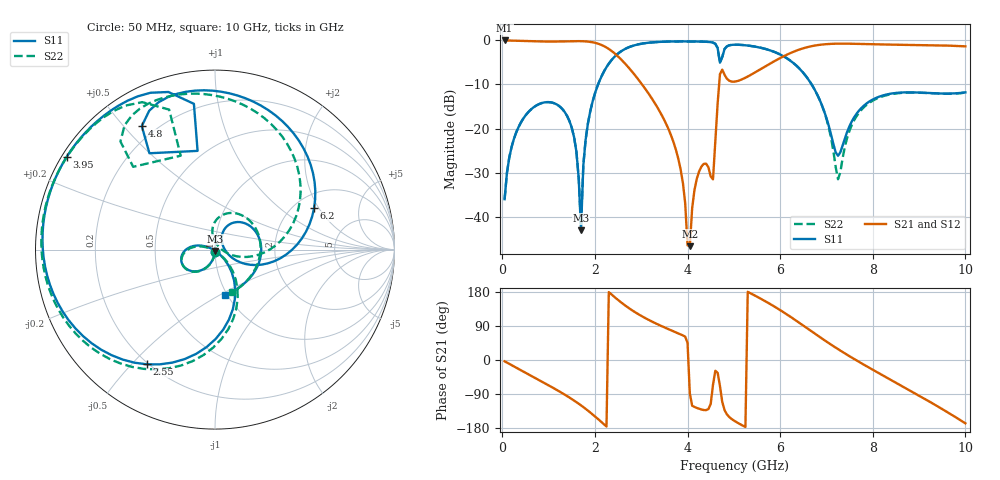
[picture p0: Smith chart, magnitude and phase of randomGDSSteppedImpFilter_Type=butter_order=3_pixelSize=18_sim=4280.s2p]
! freq	dB(S11)	phase(S11)	dB(S12)	phase(S12)
!  dB(S21)	phase(S21)	dB(S22)	phase(S22)
!S-par simulation data
#  GHz  S  DB  R 50
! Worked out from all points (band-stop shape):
!   200 points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, 50 MHz to 10 GHz, reference 50 ohm
!   highest |S21| = -0.01 dB at 50 MHz (marker M1); lowest = -46.7 dB at 4.05 GHz (marker M2)
!   |S21| within 3 dB of the highest: start of sweep to 2.433 GHz; 6.193 GHz to end of sweep
!   lowest |S11| = -43.1 dB at 1.7 GHz (marker M3), VSWR 1.01, Z = 50 - j0.703 ohm
!   |S11| at or under -10 dB: start of sweep to 2.069 GHz; 6.679 GHz to end of sweep
!   |S22| runs from -41.9 to -0.2 dB; largest |S21 - S12| = 0
!   S11 on the Smith chart (normalised r, x): 50 MHz: 1.00, -0.03; 2.55 GHz: 0.19, -0.55; 3.95 GHz: 0.01, +0.29; 4.8 GHz: 0.15, +0.56; 6.2 GHz: 2.52, +1.82; 10 GHz: 0.98, -0.53
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0.05  -36.03 -93.0  -0.01 -3.4  -0.01 -3.4  -36.03 -92.9
0.4  -18.65 -117.6  -0.10 -26.9  -0.10 -26.9  -18.65 -116.9
1.15  -14.39 -168.2  -0.26 -77.1  -0.26 -77.1  -14.39 -166.1
1.55  -21.95 163.8  -0.17 -107.0  -0.17 -107.0  -21.96 167.2
1.7  -43.06 -87.0  -0.17 -119.7  -0.17 -119.7  -41.89 -87.6
1.75  -28.32 -45.2  -0.19 -124.2  -0.19 -124.2  -28.23 -43.9
2  -12.06 -63.2  -0.53 -148.7  -0.53 -148.7  -12.05 -60.0
2.55  -2.58 -120.6  -4.14 153.5  -4.14 153.5  -2.58 -116.1
3.4  -0.33 176.9  -16.13 91.6  -16.13 91.6  -0.33 -176.6
3.95  -0.22 148.0  -37.03 61.5  -37.03 61.5  -0.22 155.9
4.05  -0.23 142.9  -46.70 -88.6  -46.70 -88.6  -0.22 151.1
4.25  -0.26 132.4  -29.74 -128.7  -29.74 -128.7  -0.25 141.2
4.55  -0.49 112.3  -31.53 -65.5  -31.53 -65.5  -0.49 122.0
4.7  -5.06 100.0  -7.68 -68.2  -7.68 -68.2  -5.08 110.1
4.8  -1.94 120.6  -7.82 -132.6  -7.82 -132.6  -1.93 131.2
5.05  -0.97 100.3  -9.29 -163.5  -9.29 -163.5  -0.97 111.6
6.2  -4.45 22.8  -2.97 115.9  -2.97 115.9  -4.43 37.6
6.7  -10.35 -14.7  -1.26 73.7  -1.26 73.7  -10.33 -0.0
7.25  -26.18 22.5  -0.73 28.7  -0.73 28.7  -31.51 36.5
8.35  -12.15 24.6  -0.95 -49.6  -0.95 -49.6  -12.30 52.1
9.15  -11.91 -22.7  -1.06 -104.6  -1.06 -104.6  -11.93 -1.9
10  -11.78 -77.1  -1.35 -167.2  -1.35 -167.2  -11.83 -68.8
